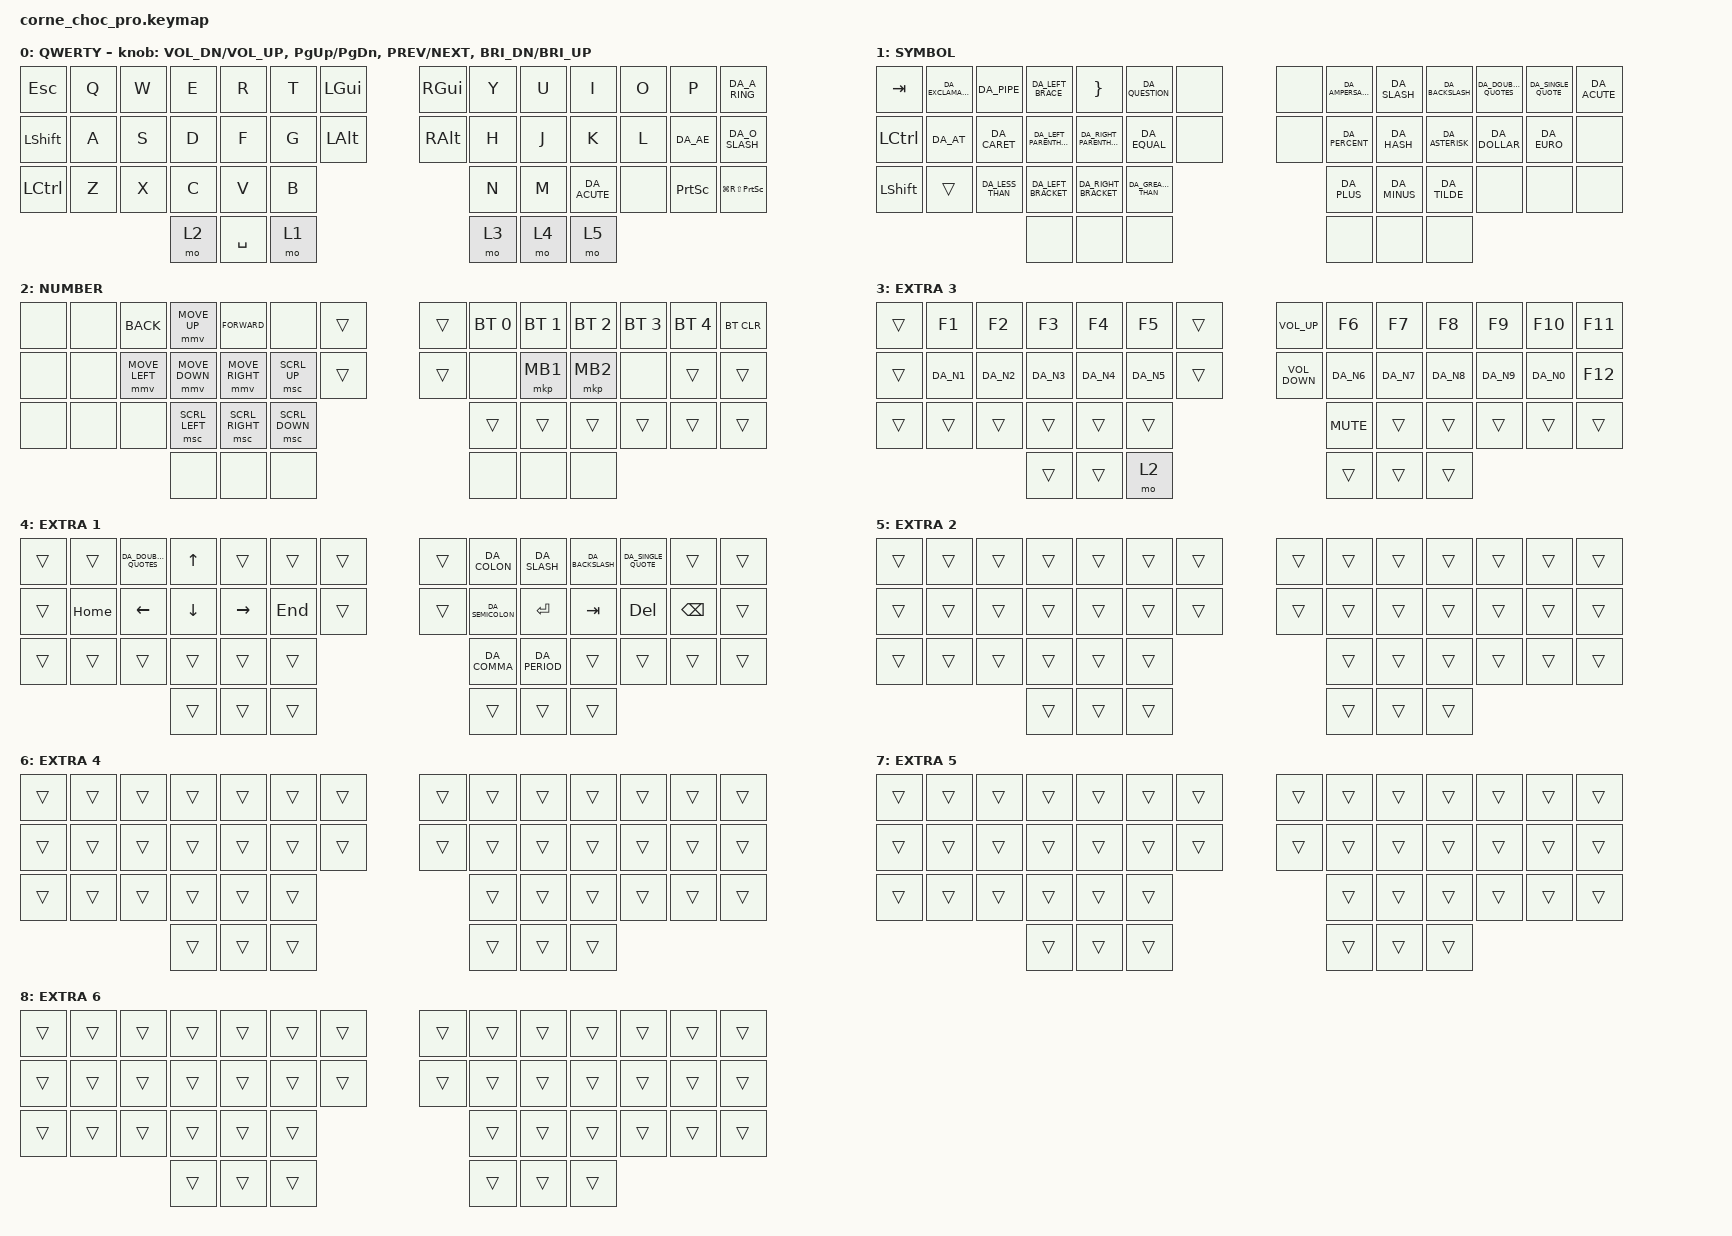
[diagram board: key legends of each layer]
/*
 * Copyright (c) 2020 The ZMK Contributors
 *
 * SPDX-License-Identifier: MIT
 */

#include <behaviors.dtsi>
#include <dt-bindings/zmk/bt.h>
#include <dt-bindings/zmk/keys.h>
#include <dt-bindings/zmk/pointing.h>
#include "keys_da.h"

/ {
    chosen { zmk,physical-layout = &default_layout; };
};

/ {
    keymap {
        compatible = "zmk,keymap";

        qwerty {
            display-name = "QWERTY";

            // --------------------------------------------------------------------------------
            // |  TAB |  Q  |  W  |  E  |  R  |  T  |  MUTE |  PP   |  Y  |  U   |  I  |  O  |  P  | BSPC |
            // | CTRL |  A  |  S  |  D  |  F  |  G  |  LALT |  RALT |  H  |  J   |  K  |  L  |  ;  |  '   |
            // | SHFT |  Z  |  X  |  C  |  V  |  B  |               |  N  |  M   |  ,  |  .  |  /  | ESC  |
            //                    | GUI | LWR | SPC |               | ENT | RSE  | ALT |

            bindings = <
&kp ESCAPE        &kp Q  &kp W  &kp E  &kp R      &kp T  &kp LEFT_GUI  &kp RIGHT_GUI  &kp Y  &kp U  &kp I         &kp O  &kp P            &kp DA_A_RING
&kp LEFT_SHIFT    &kp A  &kp S  &kp D  &kp F      &kp G  &kp LEFT_ALT  &kp RIGHT_ALT  &kp H  &kp J  &kp K         &kp L  &kp DA_AE        &kp DA_O_SLASH
&kp LEFT_CONTROL  &kp Z  &kp X  &kp C  &kp V      &kp B                               &kp N  &kp M  &kp DA_ACUTE  &none  &kp PRINTSCREEN  &kp LG(RS(PRINTSCREEN))
                                &mo 2  &kp SPACE  &mo 1                               &mo 3  &mo 4  &mo 5
            >;

            sensor-bindings =
                <&inc_dec_kp C_VOL_DN C_VOL_UP>,
                <&inc_dec_kp PG_UP PG_DN>,
                <&inc_dec_kp C_PREV C_NEXT>,
                <&inc_dec_kp C_BRI_DN C_BRI_UP>;
        };

        layer1 {
            display-name = "SYMBOL";

            // -----------------------------------------------------------------------------------------
            // |  TAB |  !  |  @  |  #  |  $  |  %  | LCTRL | RCTRL |  ^  |  &  |  *  |  (  |  )  | BSPC |
            // | CTRL | HUD | HUI |     |     |     |  LALT | RALT  |  -  |  =  |  [  |  ]  |  \  |  `   |
            // | SHFT |     |     |     |     |     |               |  _  |  +  |  {  |  }  | "|" |  ~   |
            //                    | GUI |     | SPC |               | ENT |     | ALT |

            bindings = <
&kp TAB    &kp DA_EXCLAMATION  &kp DA_PIPE       &kp DA_LEFT_BRACE        &kp RIGHT_BRACE           &kp DA_QUESTION      &none  &none  &kp DA_AMPERSAND  &kp DA_SLASH  &kp DA_BACKSLASH  &kp DA_DOUBLE_QUOTES  &kp DA_SINGLE_QUOTE  &kp DA_ACUTE
&kp LCTRL  &kp DA_AT           &kp DA_CARET      &kp DA_LEFT_PARENTHESIS  &kp DA_RIGHT_PARENTHESIS  &kp DA_EQUAL         &none  &none  &kp DA_PERCENT    &kp DA_HASH   &kp DA_ASTERISK   &kp DA_DOLLAR         &kp DA_EURO          &none
&kp LSHFT  &trans              &kp DA_LESS_THAN  &kp DA_LEFT_BRACKET      &kp DA_RIGHT_BRACKET      &kp DA_GREATER_THAN                &kp DA_PLUS       &kp DA_MINUS  &kp DA_TILDE      &none                 &none                &none
                                                 &none                    &none                     &none                              &none             &none         &none
            >;
        };

        layer2 {
            display-name = "NUMBER";

            // -----------------------------------------------------------------------------------------
            // |  TAB |  1  |  2  |  3  |  4  |  5    |  LCTRL | RCTRL |  6  |  7  |  8  |  9  |  0  | BSPC |
            // | CTRL | BT1 | BT2 | BT3 | BT4 | BT5   |  LALT  | RALT  | LFT | DWN |  UP | RGT |     |      |
            // | SHFT | BTCR| RGB | RST | BOOT| Unlock|        |       |     |     |     |     |     |      |
            //                    | GUI |     | SPC   |        | ENT   |     | ALT |

            bindings = <
&none  &none  &kp K_BACK      &mmv MOVE_UP    &kp K_FORWARD    &none           &trans  &trans  &bt BT_SEL 0  &bt BT_SEL 1  &bt BT_SEL 2  &bt BT_SEL 3  &bt BT_SEL 4  &bt BT_CLR
&none  &none  &mmv MOVE_LEFT  &mmv MOVE_DOWN  &mmv MOVE_RIGHT  &msc SCRL_UP    &trans  &trans  &none         &mkp MB1      &mkp MB2      &none         &trans        &trans
&none  &none  &none           &msc SCRL_LEFT  &msc SCRL_RIGHT  &msc SCRL_DOWN                  &trans        &trans        &trans        &trans        &trans        &trans
                              &none           &none            &none                           &none         &none         &none
            >;
        };

        layer3 {
            display-name = "EXTRA 3";
            bindings = <
&trans  &kp F1     &kp F2     &kp F3     &kp F4     &kp F5     &trans  &kp C_VOLUME_UP    &kp F6      &kp F7     &kp F8     &kp F9     &kp F10    &kp F11
&trans  &kp DA_N1  &kp DA_N2  &kp DA_N3  &kp DA_N4  &kp DA_N5  &trans  &kp C_VOLUME_DOWN  &kp DA_N6   &kp DA_N7  &kp DA_N8  &kp DA_N9  &kp DA_N0  &kp F12
&trans  &trans     &trans     &trans     &trans     &trans                                &kp K_MUTE  &trans     &trans     &trans     &trans     &trans
                              &trans     &trans     &mo 2                                 &trans      &trans     &trans
            >;
        };

        layer4 {
            display-name = "EXTRA 1";
            bindings = <
&trans  &trans    &kp DA_DOUBLE_QUOTES  &kp UP    &trans     &trans   &trans  &trans  &kp DA_COLON      &kp DA_SLASH   &kp DA_BACKSLASH  &kp DA_SINGLE_QUOTE  &trans         &trans
&trans  &kp HOME  &kp LEFT              &kp DOWN  &kp RIGHT  &kp END  &trans  &trans  &kp DA_SEMICOLON  &kp ENTER      &kp TAB           &kp DELETE           &kp BACKSPACE  &trans
&trans  &trans    &trans                &trans    &trans     &trans                   &kp DA_COMMA      &kp DA_PERIOD  &trans            &trans               &trans         &trans
                                        &trans    &trans     &trans                   &trans            &trans         &trans
            >;
        };

        layer5 {
            display-name = "EXTRA 2";
            bindings = <
&trans  &trans  &trans  &trans  &trans  &trans  &trans  &trans  &trans  &trans  &trans  &trans  &trans  &trans
&trans  &trans  &trans  &trans  &trans  &trans  &trans  &trans  &trans  &trans  &trans  &trans  &trans  &trans
&trans  &trans  &trans  &trans  &trans  &trans                  &trans  &trans  &trans  &trans  &trans  &trans
                        &trans  &trans  &trans                  &trans  &trans  &trans
            >;
        };

        extra_layer_4 {
            display-name = "EXTRA 4";
            bindings = <
&trans  &trans  &trans  &trans  &trans  &trans  &trans  &trans  &trans  &trans  &trans  &trans  &trans  &trans
&trans  &trans  &trans  &trans  &trans  &trans  &trans  &trans  &trans  &trans  &trans  &trans  &trans  &trans
&trans  &trans  &trans  &trans  &trans  &trans                  &trans  &trans  &trans  &trans  &trans  &trans
                        &trans  &trans  &trans                  &trans  &trans  &trans
            >;
        };

        extra_layer_5 {
            display-name = "EXTRA 5";
            bindings = <
&trans  &trans  &trans  &trans  &trans  &trans  &trans  &trans  &trans  &trans  &trans  &trans  &trans  &trans
&trans  &trans  &trans  &trans  &trans  &trans  &trans  &trans  &trans  &trans  &trans  &trans  &trans  &trans
&trans  &trans  &trans  &trans  &trans  &trans                  &trans  &trans  &trans  &trans  &trans  &trans
                        &trans  &trans  &trans                  &trans  &trans  &trans
            >;
        };

        extra_layer_6 {
            display-name = "EXTRA 6";
            bindings = <
&trans  &trans  &trans  &trans  &trans  &trans  &trans  &trans  &trans  &trans  &trans  &trans  &trans  &trans
&trans  &trans  &trans  &trans  &trans  &trans  &trans  &trans  &trans  &trans  &trans  &trans  &trans  &trans
&trans  &trans  &trans  &trans  &trans  &trans                  &trans  &trans  &trans  &trans  &trans  &trans
                        &trans  &trans  &trans                  &trans  &trans  &trans
            >;
        };
    };
};
